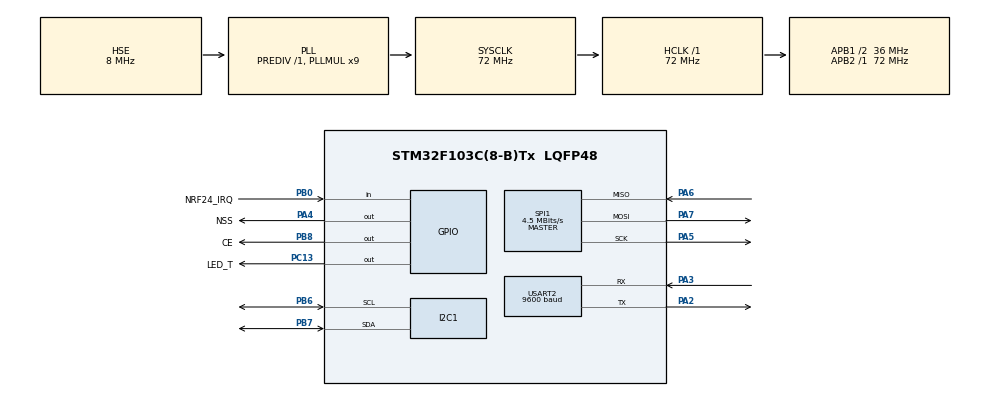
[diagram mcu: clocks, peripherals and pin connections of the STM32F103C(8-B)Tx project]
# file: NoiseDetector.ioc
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I2C1.DutyCycle=I2C_DUTYCYCLE_16_9
I2C1.I2C_Mode=I2C_Fast
Mcu.Family=STM32F1
Mcu.Name=STM32F103C(8-B)Tx
Mcu.Package=LQFP48
NVIC.PriorityGroup=NVIC_PRIORITYGROUP_4
PA13.Mode=Serial_Wire
PA13.Signal=SYS_JTMS-SWDIO
PA14.Mode=Serial_Wire
PA14.Signal=SYS_JTCK-SWCLK
PA2.Mode=Asynchronous
PA2.Signal=USART2_TX
PA3.Mode=Asynchronous
PA3.Signal=USART2_RX
PA4.GPIO_Label=NSS
PA4.GPIO_Speed=GPIO_SPEED_FREQ_HIGH
PA4.Signal=GPIO_Output
PA5.Mode=Full_Duplex_Master
PA5.Signal=SPI1_SCK
PA6.Mode=Full_Duplex_Master
PA6.Signal=SPI1_MISO
PA7.Mode=Full_Duplex_Master
PA7.Signal=SPI1_MOSI
PB0.GPIO_Label=NRF24_IRQ
PB0.GPIO_PuPd=GPIO_PULLUP
PB0.Signal=GPIO_Input
PB6.Mode=I2C
PB6.Signal=I2C1_SCL
PB7.Mode=I2C
PB7.Signal=I2C1_SDA
PB8.GPIO_Label=CE
PB8.GPIO_Speed=GPIO_SPEED_FREQ_HIGH
PB8.Signal=GPIO_Output
PC13-TAMPER-RTC.GPIO_Label=LED_T
PC13-TAMPER-RTC.GPIO_Speed=GPIO_SPEED_FREQ_HIGH
PC13-TAMPER-RTC.Signal=GPIO_Output
PD0-OSC_IN.Mode=HSE-External-Oscillator
PD0-OSC_IN.Signal=RCC_OSC_IN
PD1-OSC_OUT.Mode=HSE-External-Oscillator
PD1-OSC_OUT.Signal=RCC_OSC_OUT
ProjectManager.HeapSize=0x200
ProjectManager.StackSize=0x400
ProjectManager.TargetToolchain=MDK-ARM V5.32
RCC.AHBFreq_Value=72000000
RCC.APB1CLKDivider=RCC_HCLK_DIV2
RCC.APB1Freq_Value=36000000
RCC.APB1TimFreq_Value=72000000
RCC.APB2Freq_Value=72000000
RCC.APB2TimFreq_Value=72000000
RCC.HCLKFreq_Value=72000000
RCC.PLLMUL=RCC_PLL_MUL9
RCC.PLLSourceVirtual=RCC_PLLSOURCE_HSE
RCC.SYSCLKFreq_VALUE=72000000
RCC.SYSCLKSource=RCC_SYSCLKSOURCE_PLLCLK
RCC.USBFreq_Value=72000000
SPI1.BaudRatePrescaler=SPI_BAUDRATEPRESCALER_16
SPI1.CalculateBaudRate=4.5 MBits/s
SPI1.Direction=SPI_DIRECTION_2LINES
SPI1.Mode=SPI_MODE_MASTER
SPI1.VirtualType=VM_MASTER
USART2.BaudRate=9600
USART2.VirtualMode=VM_ASYNC
board=custom

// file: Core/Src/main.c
/* USER CODE BEGIN Header */
/**
  ******************************************************************************
  * @file           : main.c
  * @brief          : Main program body
  ******************************************************************************
  * @attention
  *
  * Copyright (c) 2023 STMicroelectronics.
  * All rights reserved.
  *
  * This software is licensed under terms that can be found in the LICENSE file
  * in the root directory of this software component.
  * If no LICENSE file comes with this software, it is provided AS-IS.
  *
  ******************************************************************************
  */
/* USER CODE END Header */
#include "main.h"
#include "i2c.h"
#include "spi.h"
#include "usart.h"
#include "gpio.h"

/* USER CODE BEGIN Includes */
#include "24l01.h"
#include "Delay.h"
#include "OLED.h"
/* USER CODE END Includes */

/* USER CODE BEGIN PTD */
#define DEVICE_ID 1

uint8_t* sender = txdata;
uint8_t reciever[32] = {0};

uint8_t ask_noise[8] = {0x01, 0x03, 0x00, 0x00, 0x00, 0x01, 0x84, 0x0A};
uint8_t res[7] = {0};
/* USER CODE END PTD */

void SystemClock_Config(void);

int main(void)
{

  /* MCU Configuration--------------------------------------------------------*/

  /* Reset of all peripherals, Initializes the Flash interface and the Systick. */
  HAL_Init();

  /* Configure the system clock */
  SystemClock_Config();

  /* Initialize all configured peripherals */
  MX_GPIO_Init();
  MX_I2C1_Init();
  MX_SPI1_Init();
  MX_USART2_UART_Init();
  /* USER CODE BEGIN 2 */
	HAL_GPIO_WritePin(LED_T_GPIO_Port, LED_T_Pin, GPIO_PIN_SET);
	OLED_Init();

	if(!NRF24L01_Check())
		OLED_ShowString(1, 1, "Welcome system!");
	else
		OLED_ShowString(1, 1, "System error!");
  /* USER CODE END 2 */

  /* Infinite loop */
  /* USER CODE BEGIN WHILE */
  while (1)
  {

		HAL_UART_Transmit(&huart2, ask_noise, 8, 1000);
		HAL_UART_Receive(&huart2, res, 7, 1000);
		OLED_ShowNum(2, 1, (res[3]<<8)+res[4], 4);

		HAL_GPIO_TogglePin(LED_T_GPIO_Port, LED_T_Pin);

		sender[3] = res[3];
		sender[4] = res[4];
		NRF24L01_TX_Mode();
		NRF24L01_TxPacket(txdata);

		HAL_Delay(500);
    /* USER CODE END WHILE */

  }
}

void SystemClock_Config(void)
{
  RCC_OscInitTypeDef RCC_OscInitStruct = {0};
  RCC_ClkInitTypeDef RCC_ClkInitStruct = {0};

  /** Initializes the RCC Oscillators according to the specified parameters
  * in the RCC_OscInitTypeDef structure.
  */
  RCC_OscInitStruct.OscillatorType = RCC_OSCILLATORTYPE_HSE;
  RCC_OscInitStruct.HSEState = RCC_HSE_ON;
  RCC_OscInitStruct.HSEPredivValue = RCC_HSE_PREDIV_DIV1;
  RCC_OscInitStruct.HSIState = RCC_HSI_ON;
  RCC_OscInitStruct.PLL.PLLState = RCC_PLL_ON;
  RCC_OscInitStruct.PLL.PLLSource = RCC_PLLSOURCE_HSE;
  RCC_OscInitStruct.PLL.PLLMUL = RCC_PLL_MUL9;
  if (HAL_RCC_OscConfig(&RCC_OscInitStruct) != HAL_OK)
  {
    Error_Handler();
  }

  /** Initializes the CPU, AHB and APB buses clocks
  */
  RCC_ClkInitStruct.ClockType = RCC_CLOCKTYPE_HCLK|RCC_CLOCKTYPE_SYSCLK
                              |RCC_CLOCKTYPE_PCLK1|RCC_CLOCKTYPE_PCLK2;
  RCC_ClkInitStruct.SYSCLKSource = RCC_SYSCLKSOURCE_PLLCLK;
  RCC_ClkInitStruct.AHBCLKDivider = RCC_SYSCLK_DIV1;
  RCC_ClkInitStruct.APB1CLKDivider = RCC_HCLK_DIV2;
  RCC_ClkInitStruct.APB2CLKDivider = RCC_HCLK_DIV1;

  if (HAL_RCC_ClockConfig(&RCC_ClkInitStruct, FLASH_LATENCY_2) != HAL_OK)
  {
    Error_Handler();
  }
}

void Error_Handler(void)
{
  __disable_irq();
  while (1)
  {
  }
}
